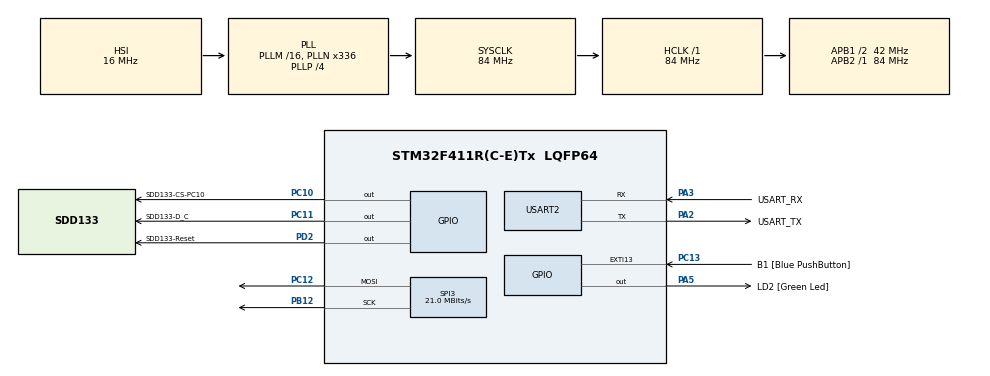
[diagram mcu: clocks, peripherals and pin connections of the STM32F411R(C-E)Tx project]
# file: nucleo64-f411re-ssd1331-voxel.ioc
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Dma.MEMTOMEM.1.Direction=DMA_MEMORY_TO_MEMORY
Dma.MEMTOMEM.1.FIFOMode=DMA_FIFOMODE_ENABLE
Dma.MEMTOMEM.1.FIFOThreshold=DMA_FIFO_THRESHOLD_FULL
Dma.MEMTOMEM.1.Instance=DMA2_Stream0
Dma.MEMTOMEM.1.MemBurst=DMA_MBURST_SINGLE
Dma.MEMTOMEM.1.MemDataAlignment=DMA_MDATAALIGN_BYTE
Dma.MEMTOMEM.1.MemInc=DMA_MINC_ENABLE
Dma.MEMTOMEM.1.Mode=DMA_NORMAL
Dma.MEMTOMEM.1.PeriphBurst=DMA_PBURST_SINGLE
Dma.MEMTOMEM.1.PeriphDataAlignment=DMA_PDATAALIGN_BYTE
Dma.MEMTOMEM.1.PeriphInc=DMA_PINC_DISABLE
Dma.MEMTOMEM.1.Priority=DMA_PRIORITY_LOW
Dma.Request0=SPI3_TX
Dma.Request1=MEMTOMEM
Dma.SPI3_TX.0.Direction=DMA_MEMORY_TO_PERIPH
Dma.SPI3_TX.0.FIFOMode=DMA_FIFOMODE_DISABLE
Dma.SPI3_TX.0.Instance=DMA1_Stream5
Dma.SPI3_TX.0.MemDataAlignment=DMA_MDATAALIGN_BYTE
Dma.SPI3_TX.0.MemInc=DMA_MINC_ENABLE
Dma.SPI3_TX.0.Mode=DMA_NORMAL
Dma.SPI3_TX.0.PeriphDataAlignment=DMA_PDATAALIGN_BYTE
Dma.SPI3_TX.0.PeriphInc=DMA_PINC_DISABLE
Dma.SPI3_TX.0.Priority=DMA_PRIORITY_LOW
Mcu.Family=STM32F4
Mcu.Name=STM32F411R(C-E)Tx
Mcu.Package=LQFP64
NVIC.DMA1_Stream5_IRQn=true\:2\:0\:true\:false\:true\:false\:true
NVIC.DMA2_Stream0_IRQn=true\:2\:0\:true\:false\:true\:true\:true
NVIC.PriorityGroup=NVIC_PRIORITYGROUP_2
NVIC.SPI3_IRQn=true\:2\:0\:true\:false\:true\:true\:true
PA13.GPIO_Label=TMS
PA13.Mode=Serial_Wire
PA13.Signal=SYS_JTMS-SWDIO
PA14.GPIO_Label=TCK
PA14.Mode=Serial_Wire
PA14.Signal=SYS_JTCK-SWCLK
PA2.GPIO_Label=USART_TX
PA2.Mode=Asynchronous
PA2.Signal=USART2_TX
PA3.GPIO_Label=USART_RX
PA3.Mode=Asynchronous
PA3.Signal=USART2_RX
PA5.GPIO_Label=LD2 [Green Led]
PA5.Signal=GPIO_Output
PB12.Mode=TX_Only_Simplex_Unidirect_Master
PB12.Signal=SPI3_SCK
PB3.GPIO_Label=SWO
PB3.Signal=SYS_JTDO-SWO
PC10.GPIO_Label=SDD133-CS-PC10
PC10.PinState=GPIO_PIN_SET
PC10.Signal=GPIO_Output
PC11.GPIO_Label=SDD133-D_C
PC11.GPIO_Speed=GPIO_SPEED_FREQ_LOW
PC11.Signal=GPIO_Output
PC12.Mode=TX_Only_Simplex_Unidirect_Master
PC12.Signal=SPI3_MOSI
PC13-ANTI_TAMP.GPIO_Label=B1 [Blue PushButton]
PC13-ANTI_TAMP.GPIO_ModeDefaultEXTI=GPIO_MODE_IT_FALLING
PC13-ANTI_TAMP.Signal=GPXTI13
PC14-OSC32_IN.Mode=LSE-External-Oscillator
PC14-OSC32_IN.Signal=RCC_OSC32_IN
PC15-OSC32_OUT.Mode=LSE-External-Oscillator
PC15-OSC32_OUT.Signal=RCC_OSC32_OUT
PD2.GPIO_Label=SDD133-Reset
PD2.Signal=GPIO_Output
PH0\ -\ OSC_IN.Mode=HSE-External-Clock-Source
PH0\ -\ OSC_IN.Signal=RCC_OSC_IN
PH1\ -\ OSC_OUT.Mode=HSE-External-Clock-Source
PH1\ -\ OSC_OUT.Signal=RCC_OSC_OUT
ProjectManager.HeapSize=0x200
ProjectManager.StackSize=0x400
ProjectManager.TargetToolchain=STM32CubeIDE
RCC.48MHZClocksFreq_Value=84000000
RCC.AHBFreq_Value=84000000
RCC.APB1CLKDivider=RCC_HCLK_DIV2
RCC.APB1Freq_Value=42000000
RCC.APB1TimFreq_Value=84000000
RCC.APB2Freq_Value=84000000
RCC.APB2TimFreq_Value=84000000
RCC.CortexFreq_Value=84000000
RCC.FLatency-AdvancedSettings=FLASH_LATENCY_2
RCC.HCLKFreq_Value=84000000
RCC.HSE_VALUE=8000000
RCC.HSI_VALUE=16000000
RCC.PLLN=336
RCC.PLLP=RCC_PLLP_DIV4
RCC.SYSCLKFreq_VALUE=84000000
RCC.SYSCLKSource=RCC_SYSCLKSOURCE_PLLCLK
RCC.VCOOutputFreq_Value=336000000
SPI3.BaudRatePrescaler=SPI_BAUDRATEPRESCALER_2
SPI3.CalculateBaudRate=21.0 MBits/s
SPI3.Direction=SPI_DIRECTION_2LINES
SPI3.Mode=SPI_MODE_MASTER
SPI3.VirtualType=VM_MASTER
USART2.VirtualMode=VM_ASYNC
board=NUCLEO-F411RE

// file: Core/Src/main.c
/* USER CODE BEGIN Header */
/**
  ******************************************************************************
  * @file           : main.c
  * @brief          : Main program body
  ******************************************************************************
  * @attention
  *
  * <h2><center>&copy; Copyright (c) 2021 STMicroelectronics.
  * All rights reserved.</center></h2>
  *
  * This software component is licensed by ST under BSD 3-Clause license,
  * the "License"; You may not use this file except in compliance with the
  * License. You may obtain a copy of the License at:
  *                        opensource.org/licenses/BSD-3-Clause
  *
  ******************************************************************************
  */
/* USER CODE END Header */
#include "main.h"

/* USER CODE BEGIN Includes */
#include "drivers/oled_for_c.h"

/* USER CODE END Includes */

SPI_HandleTypeDef hspi3;
DMA_HandleTypeDef hdma_spi3_tx;

UART_HandleTypeDef huart2;

DMA_HandleTypeDef hdma_memtomem_dma2_stream0;

void SystemClock_Config(void);
static void MX_GPIO_Init(void);
static void MX_DMA_Init(void);
static void MX_USART2_UART_Init(void);
static void MX_SPI3_Init(void);

/* USER CODE BEGIN 0 */

void displayPalette() {
	for (uint32_t y=0; y<96; y++) {
		for (uint32_t x=0; x<128; x++) {
			uint8_t color = (x / 6) + ((y / 4) * 128);
			oledDrawPixel(x, y, color);
		}
	}
}

/* USER CODE END 0 */

int main(void)
{

  /* MCU Configuration--------------------------------------------------------*/

  /* Reset of all peripherals, Initializes the Flash interface and the Systick. */
  HAL_Init();

  /* Configure the system clock */
  SystemClock_Config();

  /* Initialize all configured peripherals */
  MX_GPIO_Init();
  MX_DMA_Init();
  MX_USART2_UART_Init();
  MX_SPI3_Init();
  /* USER CODE BEGIN 2 */

  oledInit();
  displayPalette();
  HAL_Delay(1000);

  oledClearScreen();
  HAL_Delay(100);

  printf("Started a benchmark\r\n");

  /* USER CODE END 2 */

  /* Infinite loop */
  while (1)
  {

    /* USER CODE BEGIN 3 */
	uint32_t ticksStart = HAL_GetTick();

	uint32_t frames = voxelAnimationSingleLoop();

	uint32_t ticksEnd = HAL_GetTick();
	uint32_t tickDelta = ticksEnd - ticksStart;

	printf("Delta time of the whole run %lu ms in %lu frames, FPS=%lu\r\n", tickDelta, frames, (frames*1000) / tickDelta);
  }
  /* USER CODE END 3 */
}

void SystemClock_Config(void)
{
  RCC_OscInitTypeDef RCC_OscInitStruct = {0};
  RCC_ClkInitTypeDef RCC_ClkInitStruct = {0};

  /** Configure the main internal regulator output voltage
  */
  __HAL_RCC_PWR_CLK_ENABLE();
  __HAL_PWR_VOLTAGESCALING_CONFIG(PWR_REGULATOR_VOLTAGE_SCALE1);
  /** Initializes the RCC Oscillators according to the specified parameters
  * in the RCC_OscInitTypeDef structure.
  */
  RCC_OscInitStruct.OscillatorType = RCC_OSCILLATORTYPE_HSI;
  RCC_OscInitStruct.HSIState = RCC_HSI_ON;
  RCC_OscInitStruct.HSICalibrationValue = RCC_HSICALIBRATION_DEFAULT;
  RCC_OscInitStruct.PLL.PLLState = RCC_PLL_ON;
  RCC_OscInitStruct.PLL.PLLSource = RCC_PLLSOURCE_HSI;
  RCC_OscInitStruct.PLL.PLLM = 16;
  RCC_OscInitStruct.PLL.PLLN = 336;
  RCC_OscInitStruct.PLL.PLLP = RCC_PLLP_DIV4;
  RCC_OscInitStruct.PLL.PLLQ = 4;
  if (HAL_RCC_OscConfig(&RCC_OscInitStruct) != HAL_OK)
  {
    Error_Handler();
  }
  /** Initializes the CPU, AHB and APB buses clocks
  */
  RCC_ClkInitStruct.ClockType = RCC_CLOCKTYPE_HCLK|RCC_CLOCKTYPE_SYSCLK
                              |RCC_CLOCKTYPE_PCLK1|RCC_CLOCKTYPE_PCLK2;
  RCC_ClkInitStruct.SYSCLKSource = RCC_SYSCLKSOURCE_PLLCLK;
  RCC_ClkInitStruct.AHBCLKDivider = RCC_SYSCLK_DIV1;
  RCC_ClkInitStruct.APB1CLKDivider = RCC_HCLK_DIV2;
  RCC_ClkInitStruct.APB2CLKDivider = RCC_HCLK_DIV1;

  if (HAL_RCC_ClockConfig(&RCC_ClkInitStruct, FLASH_LATENCY_2) != HAL_OK)
  {
    Error_Handler();
  }
}

static void MX_SPI3_Init(void)
{

  /* SPI3 parameter configuration*/
  hspi3.Instance = SPI3;
  hspi3.Init.Mode = SPI_MODE_MASTER;
  hspi3.Init.Direction = SPI_DIRECTION_2LINES;
  hspi3.Init.DataSize = SPI_DATASIZE_8BIT;
  hspi3.Init.CLKPolarity = SPI_POLARITY_LOW;
  hspi3.Init.CLKPhase = SPI_PHASE_1EDGE;
  hspi3.Init.NSS = SPI_NSS_SOFT;
  hspi3.Init.BaudRatePrescaler = SPI_BAUDRATEPRESCALER_2;
  hspi3.Init.FirstBit = SPI_FIRSTBIT_MSB;
  hspi3.Init.TIMode = SPI_TIMODE_DISABLE;
  hspi3.Init.CRCCalculation = SPI_CRCCALCULATION_DISABLE;
  hspi3.Init.CRCPolynomial = 10;
  if (HAL_SPI_Init(&hspi3) != HAL_OK)
  {
    Error_Handler();
  }

}

static void MX_USART2_UART_Init(void)
{

  huart2.Instance = USART2;
  huart2.Init.BaudRate = 115200;
  huart2.Init.WordLength = UART_WORDLENGTH_8B;
  huart2.Init.StopBits = UART_STOPBITS_1;
  huart2.Init.Parity = UART_PARITY_NONE;
  huart2.Init.Mode = UART_MODE_TX_RX;
  huart2.Init.HwFlowCtl = UART_HWCONTROL_NONE;
  huart2.Init.OverSampling = UART_OVERSAMPLING_16;
  if (HAL_UART_Init(&huart2) != HAL_OK)
  {
    Error_Handler();
  }

}

static void MX_DMA_Init(void)
{

  /* DMA controller clock enable */
  __HAL_RCC_DMA1_CLK_ENABLE();
  __HAL_RCC_DMA2_CLK_ENABLE();

  /* Configure DMA request hdma_memtomem_dma2_stream0 on DMA2_Stream0 */
  hdma_memtomem_dma2_stream0.Instance = DMA2_Stream0;
  hdma_memtomem_dma2_stream0.Init.Channel = DMA_CHANNEL_0;
  hdma_memtomem_dma2_stream0.Init.Direction = DMA_MEMORY_TO_MEMORY;
  hdma_memtomem_dma2_stream0.Init.PeriphInc = DMA_PINC_DISABLE;
  hdma_memtomem_dma2_stream0.Init.MemInc = DMA_MINC_ENABLE;
  hdma_memtomem_dma2_stream0.Init.PeriphDataAlignment = DMA_PDATAALIGN_BYTE;
  hdma_memtomem_dma2_stream0.Init.MemDataAlignment = DMA_MDATAALIGN_BYTE;
  hdma_memtomem_dma2_stream0.Init.Mode = DMA_NORMAL;
  hdma_memtomem_dma2_stream0.Init.Priority = DMA_PRIORITY_LOW;
  hdma_memtomem_dma2_stream0.Init.FIFOMode = DMA_FIFOMODE_ENABLE;
  hdma_memtomem_dma2_stream0.Init.FIFOThreshold = DMA_FIFO_THRESHOLD_FULL;
  hdma_memtomem_dma2_stream0.Init.MemBurst = DMA_MBURST_SINGLE;
  hdma_memtomem_dma2_stream0.Init.PeriphBurst = DMA_PBURST_SINGLE;
  if (HAL_DMA_Init(&hdma_memtomem_dma2_stream0) != HAL_OK)
  {
    Error_Handler( );
  }

  /* DMA interrupt init */
  /* DMA1_Stream5_IRQn interrupt configuration */
  HAL_NVIC_SetPriority(DMA1_Stream5_IRQn, 2, 0);
  HAL_NVIC_EnableIRQ(DMA1_Stream5_IRQn);
  /* DMA2_Stream0_IRQn interrupt configuration */
  HAL_NVIC_SetPriority(DMA2_Stream0_IRQn, 2, 0);
  HAL_NVIC_EnableIRQ(DMA2_Stream0_IRQn);

}

static void MX_GPIO_Init(void)
{
  GPIO_InitTypeDef GPIO_InitStruct = {0};

  /* GPIO Ports Clock Enable */
  __HAL_RCC_GPIOC_CLK_ENABLE();
  __HAL_RCC_GPIOH_CLK_ENABLE();
  __HAL_RCC_GPIOA_CLK_ENABLE();
  __HAL_RCC_GPIOB_CLK_ENABLE();
  __HAL_RCC_GPIOD_CLK_ENABLE();

  /*Configure GPIO pin Output Level */
  HAL_GPIO_WritePin(LD2_GPIO_Port, LD2_Pin, GPIO_PIN_RESET);

  /*Configure GPIO pin Output Level */
  HAL_GPIO_WritePin(SDD133_CS_PC10_GPIO_Port, SDD133_CS_PC10_Pin, GPIO_PIN_SET);

  /*Configure GPIO pin Output Level */
  HAL_GPIO_WritePin(SDD133_D_C_GPIO_Port, SDD133_D_C_Pin, GPIO_PIN_RESET);

  /*Configure GPIO pin Output Level */
  HAL_GPIO_WritePin(SDD133_Reset_GPIO_Port, SDD133_Reset_Pin, GPIO_PIN_RESET);

  /*Configure GPIO pin : B1_Pin */
  GPIO_InitStruct.Pin = B1_Pin;
  GPIO_InitStruct.Mode = GPIO_MODE_IT_FALLING;
  GPIO_InitStruct.Pull = GPIO_NOPULL;
  HAL_GPIO_Init(B1_GPIO_Port, &GPIO_InitStruct);

  /*Configure GPIO pin : LD2_Pin */
  GPIO_InitStruct.Pin = LD2_Pin;
  GPIO_InitStruct.Mode = GPIO_MODE_OUTPUT_PP;
  GPIO_InitStruct.Pull = GPIO_NOPULL;
  GPIO_InitStruct.Speed = GPIO_SPEED_FREQ_LOW;
  HAL_GPIO_Init(LD2_GPIO_Port, &GPIO_InitStruct);

  /*Configure GPIO pins : SDD133_CS_PC10_Pin SDD133_D_C_Pin */
  GPIO_InitStruct.Pin = SDD133_CS_PC10_Pin|SDD133_D_C_Pin;
  GPIO_InitStruct.Mode = GPIO_MODE_OUTPUT_PP;
  GPIO_InitStruct.Pull = GPIO_NOPULL;
  GPIO_InitStruct.Speed = GPIO_SPEED_FREQ_LOW;
  HAL_GPIO_Init(GPIOC, &GPIO_InitStruct);

  /*Configure GPIO pin : SDD133_Reset_Pin */
  GPIO_InitStruct.Pin = SDD133_Reset_Pin;
  GPIO_InitStruct.Mode = GPIO_MODE_OUTPUT_PP;
  GPIO_InitStruct.Pull = GPIO_NOPULL;
  GPIO_InitStruct.Speed = GPIO_SPEED_FREQ_LOW;
  HAL_GPIO_Init(SDD133_Reset_GPIO_Port, &GPIO_InitStruct);

}

void Error_Handler(void)
{
  __disable_irq();
  while (1)
  {
  }
}

/************************ (C) COPYRIGHT STMicroelectronics *****END OF FILE****/
